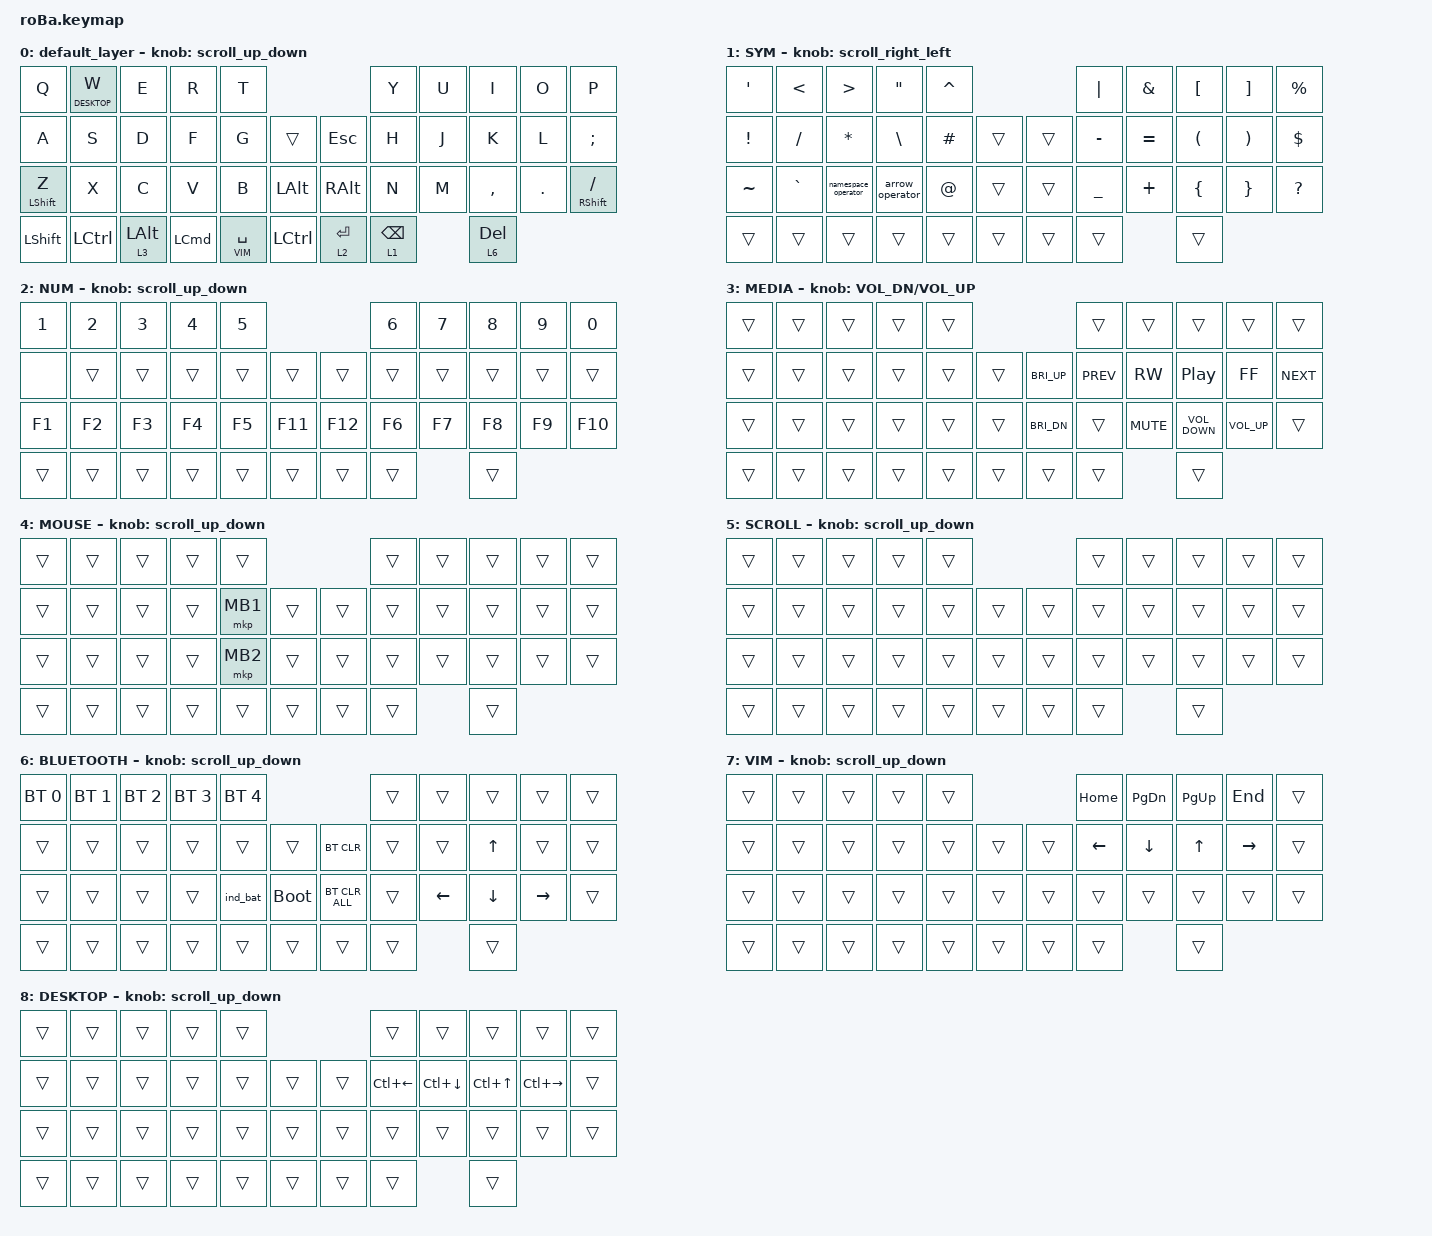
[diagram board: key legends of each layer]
#include <behaviors/rgbled_widget.dtsi>
#include <behaviors.dtsi>
#include <dt-bindings/zmk/bt.h>
#include <dt-bindings/zmk/keys.h>
#include <dt-bindings/zmk/pointing.h>

// roBa 層號對照 moNa2（MOUSE/SCROLL 因驅動需求固定在 4/5）:
// moNa2: Default(0) SYM(1) NUM(2) MEDIA(3) BT(4)    MOUSE(5) SCROLL(6) VIM(7) DESKTOP(8)
// roBa:  Default(0) SYM(1) NUM(2) MEDIA(3) MOUSE(4) SCROLL(5) BT(6)    VIM(7) DESKTOP(8)
#undef ZMK_POINTING_DEFAULT_SCRL_VAL
#define ZMK_POINTING_DEFAULT_SCRL_VAL 200
#define MOUSE 4
#define SCROLL 5
#define VIM 7
#define DESKTOP 8

&mt {
    flavor = "balanced";
    quick-tap-ms = <0>;
    require-prior-idle-ms = <150>;
};

&lt {
    tapping-term-ms = <200>;
    quick-tap-ms = <200>;
    flavor = "balanced";
};

// automouse 和 scroll 由 overlay 的 zip_temp_layer 和 input processor 處理

// 點擊滑鼠鍵時延長 MOUSE 層超時至 2 秒
&mkp_input_listener { input-processors = <&zip_temp_layer MOUSE 250>; };

/ {
    combos {
        compatible = "zmk,combos";

        tab {
            bindings = <&kp TAB>;
            key-positions = <1 2>;    // W+E
            slow-release;
        };

        enter {
            bindings = <&kp ENTER>;
            key-positions = <18 19>;  // J+K
            slow-release;
        };

        input_switch {
            bindings = <&input_tap>;
            key-positions = <11 12>;  // S+D = 切換輸入法
            slow-release;
        };
    };

    macros {
        to_layer_0: to_layer_0 {
            compatible = "zmk,behavior-macro-one-param";
            #binding-cells = <1>;
            bindings = <&to 0 &macro_param_1to1 &kp MACRO_PLACEHOLDER>;
            label = "TO_LAYER_0";
        };

        arrow_operator: arrow_operator {
            compatible = "zmk,behavior-macro";
            #binding-cells = <0>;
            bindings = <&kp MINUS &kp GREATER_THAN>;
            label = "ARROW_OPERATOR";
        };

        namespace_operator: namespace_operator {
            compatible = "zmk,behavior-macro";
            #binding-cells = <0>;
            bindings = <&kp COLON &kp COLON>;
            label = "NAMESPACE_OPERATOR";
        };

        input_tap: input_tap {
            compatible = "zmk,behavior-macro";
            #binding-cells = <0>;
            bindings = <&macro_tap &kp LC(SPACE)>;
            label = "INPUT_TAP";
        };
    };

    behaviors {
        lt_to_layer_0: lt_to_layer_0 {
            compatible = "zmk,behavior-hold-tap";
            label = "LAYER_TAP_TO_0";
            bindings = <&mo>, <&to_layer_0>;

            #binding-cells = <2>;
            tapping-term-ms = <200>;
        };

        scroll_up_down: behavior_sensor_rotate_mouse_wheel_up_down {
            compatible = "zmk,behavior-sensor-rotate";
            #sensor-binding-cells = <0>;
            tap-ms = <20>;
            bindings = <&msc SCRL_DOWN>, <&msc SCRL_UP>;  // 反轉：配合 roBa encoder 接線方向
        };

        scroll_right_left: mouse_wheel_right_left {
            compatible = "zmk,behavior-sensor-rotate";
            #sensor-binding-cells = <0>;
            bindings = <&msc SCRL_LEFT>, <&msc SCRL_RIGHT>;
            tap-ms = <20>;
        };
    };

    keymap {
        compatible = "zmk,keymap";

        default_layer {  // Layer 0 - 完全對照 moNa2
            bindings = <
&kp Q             &lt DESKTOP W  &kp E           &kp R             &kp T                                                         &kp Y                   &kp U          &kp I      &kp O    &kp P
&kp A             &kp S          &kp D           &kp F             &kp G             &trans                &kp ESCAPE                       &kp H                   &kp J          &kp K      &kp L    &kp SEMICOLON
&mt LEFT_SHIFT Z  &kp X          &kp C           &kp V             &kp B        &kp LEFT_ALT    &kp RIGHT_ALT                    &kp N                   &kp M          &kp COMMA  &kp DOT  &mt RIGHT_SHIFT SLASH
&kp LEFT_SHIFT    &kp LCTRL      &lt 3 LEFT_ALT  &kp LEFT_COMMAND  &lt VIM SPACE  &kp LCTRL       &lt_to_layer_0 2 ENTER  &lt 1 BACKSPACE                                          &lt 6 DELETE
            >;

            sensor-bindings = <&scroll_up_down>;
        };

        SYM {  // Layer 1 - 符號層（按住 BS）
            bindings = <
&kp SINGLE_QUOTE  &kp LESS_THAN  &kp GREATER_THAN     &kp DOUBLE_QUOTES  &kp CARET                      &kp PIPE        &kp AMPERSAND  &kp LEFT_BRACKET      &kp RIGHT_BRACKET      &kp PERCENT
&kp EXCLAMATION   &kp SLASH      &kp ASTRK            &kp BACKSLASH      &kp HASH   &trans      &trans  &kp MINUS       &kp EQUAL      &kp LEFT_PARENTHESIS  &kp RIGHT_PARENTHESIS  &kp DOLLAR
&kp TILDE         &kp GRAVE      &namespace_operator   &arrow_operator    &kp AT_SIGN  &trans    &trans  &kp UNDERSCORE  &kp PLUS       &kp LEFT_BRACE        &kp RIGHT_BRACE        &kp QUESTION
&trans            &trans         &trans               &trans             &trans       &trans    &trans  &trans                                                                      &trans
            >;

            sensor-bindings = <&scroll_right_left>;
        };

        NUM {  // Layer 2 - 數字層（按住 ENTER）
            bindings = <
&kp NUMBER_1  &kp NUMBER_2  &kp NUMBER_3  &kp NUMBER_4  &kp NUMBER_5                      &kp NUMBER_6  &kp NUMBER_7  &kp NUMBER_8  &kp NUMBER_9  &kp N0
&none         &trans        &trans        &trans        &trans        &trans     &trans   &trans        &trans        &trans        &trans        &trans
&kp F1        &kp F2        &kp F3        &kp F4        &kp F5        &kp F11    &kp F12  &kp F6        &kp F7        &kp F8        &kp F9        &kp F10
&trans        &trans        &trans        &trans        &trans        &trans     &trans   &trans                                                  &trans
            >;

            sensor-bindings = <&scroll_up_down>;
        };

        MEDIA {  // Layer 3 - 媒體層（按住 ALT）
            bindings = <
&trans  &trans  &trans  &trans  &trans                          &trans      &trans      &trans             &trans           &trans
&trans  &trans  &trans  &trans  &trans  &trans    &kp C_BRI_UP  &kp C_PREV  &kp C_RW    &kp C_PLAY_PAUSE   &kp C_FF         &kp C_NEXT
&trans  &trans  &trans  &trans  &trans  &trans    &kp C_BRI_DN  &trans      &kp C_MUTE  &kp C_VOLUME_DOWN  &kp C_VOLUME_UP  &trans
&trans  &trans  &trans  &trans  &trans  &trans    &trans        &trans                                                      &trans
            >;

            sensor-bindings = <&inc_dec_kp C_VOL_DN C_VOL_UP>;
        };

        MOUSE {  // Layer 4 - 軌跡球自動切換，G=左鍵、B=右鍵
            bindings = <
&trans  &trans  &trans  &trans  &trans                       &trans  &trans  &trans  &trans  &trans
&trans  &trans  &trans  &trans  &mkp MB1  &trans     &trans  &trans  &trans  &trans  &trans  &trans
&trans  &trans  &trans  &trans  &mkp MB2  &trans     &trans  &trans  &trans  &trans  &trans  &trans
&trans  &trans  &trans  &trans  &trans    &trans     &trans  &trans                          &trans
            >;

            sensor-bindings = <&scroll_up_down>;
        };

        SCROLL {  // Layer 5 - 軌跡球捲輪模式
            bindings = <
&trans  &trans  &trans  &trans  &trans                    &trans  &trans  &trans  &trans  &trans
&trans  &trans  &trans  &trans  &trans  &trans    &trans  &trans  &trans  &trans  &trans  &trans
&trans  &trans  &trans  &trans  &trans  &trans    &trans  &trans  &trans  &trans  &trans  &trans
&trans  &trans  &trans  &trans  &trans  &trans    &trans  &trans                          &trans
            >;

            sensor-bindings = <&scroll_up_down>;
        };

        BLUETOOTH {  // Layer 6 - 藍牙（按住 DEL）
            bindings = <
&bt BT_SEL 0  &bt BT_SEL 1  &bt BT_SEL 2  &bt BT_SEL 3  &bt BT_SEL 4                                 &trans        &trans        &trans        &trans        &trans
&trans        &trans        &trans        &trans        &trans        &trans         &bt BT_CLR      &trans        &trans        &kp UP        &trans        &trans
&trans        &trans        &trans        &trans        &ind_bat      &bootloader    &bt BT_CLR_ALL  &trans        &kp LEFT      &kp DOWN      &kp RIGHT     &trans
&trans        &trans        &trans        &trans        &trans        &trans         &trans          &trans                                                  &trans
            >;

            sensor-bindings = <&scroll_up_down>;
        };

        VIM {  // Layer 7 - 按住 Space，HJKL + Home/End/PgUp/PgDn
            bindings = <
&trans  &trans  &trans  &trans  &trans                    &kp HOME  &kp PAGE_DOWN  &kp PAGE_UP  &kp END    &trans
&trans  &trans  &trans  &trans  &trans  &trans    &trans  &kp LEFT  &kp DOWN       &kp UP       &kp RIGHT  &trans
&trans  &trans  &trans  &trans  &trans  &trans    &trans  &trans    &trans         &trans       &trans     &trans
&trans  &trans  &trans  &trans  &trans  &trans    &trans  &trans                                            &trans
            >;

            sensor-bindings = <&scroll_up_down>;
        };

        DESKTOP {  // Layer 8 - 按住 W，macOS 桌面切換
            bindings = <
&trans  &trans  &trans  &trans  &trans                    &trans        &trans        &trans      &trans         &trans
&trans  &trans  &trans  &trans  &trans  &trans    &trans  &kp LC(LEFT)  &kp LC(DOWN)  &kp LC(UP)  &kp LC(RIGHT)  &trans
&trans  &trans  &trans  &trans  &trans  &trans    &trans  &trans        &trans        &trans      &trans         &trans
&trans  &trans  &trans  &trans  &trans  &trans    &trans  &trans                                                 &trans
            >;

            sensor-bindings = <&scroll_up_down>;
        };
    };
};
